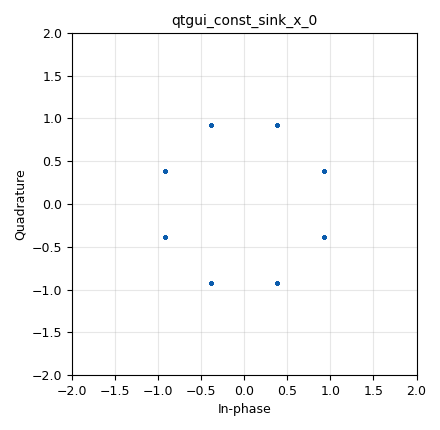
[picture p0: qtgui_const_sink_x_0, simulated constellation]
options:
  parameters:
    author: Marek Hetteš
    category: Custom
    description: Hlavny zapojenie pre BP1
    generate_options: qt_gui
    id: BER_Testovanie
    output_language: python
    title: BER Testovanie
  states: {}

blocks:
- name: BPSK
  id: variable_constellation
  parameters:
    precision: '8'
    type: 8psk
  states: {}
- name: M
  id: variable
  parameters:
    value: '8'
  states: {}
- name: N
  id: variable
  parameters:
    value: '256'
  states: {}
- name: Num_samp
  id: variable
  parameters:
    value: '1000000'
  states: {}
- name: OPSK
  id: variable_constellation
  parameters:
    precision: '8'
    type: 8psk
  states: {state: disabled}
- name: QPSK
  id: variable_constellation
  parameters:
    precision: '8'
    type: bpsk
  states: {state: disabled}
- name: SNR_max
  id: variable
  parameters:
    value: '20'
  states: {}
- name: SNR_min
  id: variable
  parameters:
    value: '0'
  states: {}
- name: SQAM
  id: variable_constellation
  parameters:
    precision: '8'
    type: 16qam
  states: {state: disabled}
- name: samp_rate
  id: variable
  parameters:
    value: '10000000'
  states: {}
- name: variable_qtgui_chooser_0
  id: variable_qtgui_chooser
  parameters:
    num_opts: '3'
    option0: '0'
    option1: '1'
    option2: '2'
    type: int
    value: '0'
  states: {}
- name: ErTools_AWGN_0
  id: ErTools_AWGN
  parameters:
    EbN0max: '20'
    EbN0min: '0'
    M: M
    N: N
  states: {}
- name: ErTools_AWGN_0_0
  id: ErTools_AWGN
  parameters:
    EbN0max: '20'
    EbN0min: '0'
    M: '2'
    N: N
  states: {state: disabled}
- name: ErTools_AWGN_0_0_0
  id: ErTools_AWGN
  parameters:
    EbN0max: '20'
    EbN0min: '0'
    M: '8'
    N: N
  states: {state: disabled}
- name: ErTools_AWGN_0_0_1
  id: ErTools_AWGN
  parameters:
    EbN0max: '20'
    EbN0min: '0'
    M: '16'
    N: N
  states: {state: disabled}
- name: ErTools_BER_0
  id: ErTools_BER
  parameters:
    N: N
  states: {}
- name: ErTools_BER_0_0
  id: ErTools_BER
  parameters:
    N: N
  states: {state: disabled}
- name: ErTools_BER_0_1
  id: ErTools_BER
  parameters:
    N: N
  states: {state: disabled}
- name: ErTools_BER_0_2
  id: ErTools_BER
  parameters:
    N: N
  states: {state: disabled}
- name: ErTools_SER_0
  id: ErTools_SER
  parameters:
    N: N
  states: {state: disabled}
- name: ErTools_Teoreticka_BER_0
  id: ErTools_Teoreticka_BER
  parameters:
    EbN0max: '20'
    EbN0min: '0'
    M: '2'
    N: N
  states: {}
- name: ErTools_Teoreticka_BER_0_0
  id: ErTools_Teoreticka_BER
  parameters:
    EbN0max: '20'
    EbN0min: '0'
    M: '4'
    N: N
  states: {}
- name: ErTools_Teoreticka_BER_0_1
  id: ErTools_Teoreticka_BER
  parameters:
    EbN0max: '20'
    EbN0min: '0'
    M: '8'
    N: N
  states: {}
- name: ErTools_Teoreticka_BER_0_2
  id: ErTools_Teoreticka_BER
  parameters:
    EbN0max: '20'
    EbN0min: '0'
    M: '16'
    N: N
  states: {}
- name: ErTools_Teoreticka_BER_0_2_0
  id: ErTools_Teoreticka_BER
  parameters:
    EbN0max: '20'
    EbN0min: '0'
    M: '16'
    N: N
  states: {state: disabled}
- name: analog_random_source_x_0
  id: analog_random_source_x
  parameters:
    max: M
    min: '0'
    num_samps: Num_samp
    repeat: 'True'
    type: byte
  states: {}
- name: blocks_add_xx_0
  id: blocks_add_xx
  parameters:
    type: complex
  states: {}
- name: blocks_add_xx_0_0
  id: blocks_add_xx
  parameters:
    type: complex
  states: {state: disabled}
- name: blocks_add_xx_0_0_0
  id: blocks_add_xx
  parameters:
    type: complex
  states: {state: disabled}
- name: blocks_add_xx_0_0_1
  id: blocks_add_xx
  parameters:
    type: complex
  states: {state: disabled}
- name: blocks_nlog10_ff_0
  id: blocks_nlog10_ff
  parameters:
    k: '0'
  states: {}
- name: blocks_nlog10_ff_0_0
  id: blocks_nlog10_ff
  parameters:
    k: '0'
  states: {state: disabled}
- name: blocks_nlog10_ff_0_1
  id: blocks_nlog10_ff
  parameters:
    k: '0'
  states: {state: disabled}
- name: blocks_nlog10_ff_0_1_0
  id: blocks_nlog10_ff
  parameters:
    k: '0'
  states: {}
- name: blocks_nlog10_ff_0_1_0_0
  id: blocks_nlog10_ff
  parameters:
    k: '0'
  states: {}
- name: blocks_nlog10_ff_0_1_0_1
  id: blocks_nlog10_ff
  parameters:
    k: '0'
  states: {}
- name: blocks_nlog10_ff_0_1_0_2
  id: blocks_nlog10_ff
  parameters:
    k: '0'
  states: {}
- name: blocks_nlog10_ff_0_1_0_2_0
  id: blocks_nlog10_ff
  parameters:
    k: '0'
  states: {state: disabled}
- name: blocks_nlog10_ff_0_2
  id: blocks_nlog10_ff
  parameters:
    k: '0'
  states: {state: disabled}
- name: blocks_nlog10_ff_0_3
  id: blocks_nlog10_ff
  parameters:
    k: '0'
  states: {state: disabled}
- name: blocks_stream_to_vector_0
  id: blocks_stream_to_vector
  parameters:
    num_items: N
    type: float
  states: {}
- name: blocks_stream_to_vector_0_0
  id: blocks_stream_to_vector
  parameters:
    num_items: N
    type: float
  states: {state: disabled}
- name: blocks_stream_to_vector_0_1
  id: blocks_stream_to_vector
  parameters:
    num_items: N
    type: float
  states: {state: disabled}
- name: blocks_stream_to_vector_0_1_0
  id: blocks_stream_to_vector
  parameters:
    num_items: N
    type: float
  states: {}
- name: blocks_stream_to_vector_0_1_0_0
  id: blocks_stream_to_vector
  parameters:
    num_items: N
    type: float
  states: {}
- name: blocks_stream_to_vector_0_1_0_1
  id: blocks_stream_to_vector
  parameters:
    num_items: N
    type: float
  states: {}
- name: blocks_stream_to_vector_0_1_0_2
  id: blocks_stream_to_vector
  parameters:
    num_items: N
    type: float
  states: {}
- name: blocks_stream_to_vector_0_1_0_2_0
  id: blocks_stream_to_vector
  parameters:
    num_items: N
    type: float
  states: {state: disabled}
- name: blocks_stream_to_vector_0_2
  id: blocks_stream_to_vector
  parameters:
    num_items: N
    type: float
  states: {state: disabled}
- name: blocks_stream_to_vector_0_3
  id: blocks_stream_to_vector
  parameters:
    num_items: N
    type: float
  states: {state: disabled}
- name: blocks_throttle2_0
  id: blocks_throttle2
  parameters:
    samples_per_second: samp_rate
    type: complex
  states: {}
- name: blocks_throttle2_0_0
  id: blocks_throttle2
  parameters:
    samples_per_second: samp_rate
    type: complex
  states: {state: disabled}
- name: blocks_throttle2_0_0_0
  id: blocks_throttle2
  parameters:
    samples_per_second: samp_rate
    type: complex
  states: {state: disabled}
- name: blocks_throttle2_0_0_1
  id: blocks_throttle2
  parameters:
    samples_per_second: samp_rate
    type: complex
  states: {state: disabled}
- name: blocks_unpack_k_bits_bb_0_0
  id: blocks_unpack_k_bits_bb
  parameters:
    k: '1'
  states: {state: disabled}
- name: blocks_unpack_k_bits_bb_0_1
  id: blocks_unpack_k_bits_bb
  parameters:
    k: '1'
  states: {state: disabled}
- name: blocks_unpack_k_bits_bb_0_2
  id: blocks_unpack_k_bits_bb
  parameters:
    k: '1'
  states: {state: disabled}
- name: digital_constellation_decoder_cb_0
  id: digital_constellation_decoder_cb
  parameters:
    constellation: BPSK
  states: {}
- name: digital_constellation_decoder_cb_0_0
  id: digital_constellation_decoder_cb
  parameters:
    constellation: QPSK
  states: {state: disabled}
- name: digital_constellation_decoder_cb_0_0_0
  id: digital_constellation_decoder_cb
  parameters:
    constellation: OPSK
  states: {state: disabled}
- name: digital_constellation_decoder_cb_0_0_1
  id: digital_constellation_decoder_cb
  parameters:
    constellation: SQAM
  states: {state: disabled}
- name: digital_constellation_encoder_bc_0
  id: digital_constellation_encoder_bc
  parameters:
    constellation: BPSK
  states: {}
- name: digital_constellation_encoder_bc_0_0
  id: digital_constellation_encoder_bc
  parameters:
    constellation: QPSK
  states: {state: disabled}
- name: digital_constellation_encoder_bc_0_0_0
  id: digital_constellation_encoder_bc
  parameters:
    constellation: OPSK
  states: {state: disabled}
- name: digital_constellation_encoder_bc_0_0_1
  id: digital_constellation_encoder_bc
  parameters:
    constellation: SQAM
  states: {state: disabled}
- name: qtgui_const_sink_x_0
  id: qtgui_const_sink_x
  parameters:
    grid: 'True'
    size: '1024'
    type: complex
  states: {}
- name: qtgui_vector_sink_f_0_0
  id: qtgui_vector_sink_f
  parameters:
    alpha1: '1'
    color1: '"magenta"'
    color3: '"blue"'
    color4: '"green"'
    color5: '"black"'
    grid: 'True'
    gui_hint: 2,0,1,1
    label1: '"Realna BPSK"'
    label2: '"Teoreticka BPSK"'
    label3: '"Teoreticka QPSK"'
    label4: '"Teoreticka 8PSK"'
    label5: '"Teoreticka 16PSK"'
    name: '"BER"'
    nconnections: '5'
    update_time: '0.1'
    vlen: N
    width1: '2'
    width2: '2'
    width3: '2'
    width4: '2'
    width5: '2'
    x_axis_label: '"Eb/N0 [dB]"'
    x_start: '0'
    x_step: '0.078125'
    x_units: '"dB"'
    y_axis_label: '"log Pe"'
    ymax: '1'
    ymin: '-6'
  states: {}
- name: virtual_sink_0
  id: virtual_sink
  parameters:
    stream_id: AWGN_B
  states: {}
- name: virtual_sink_0_0
  id: virtual_sink
  parameters:
    stream_id: SIGNAL
  states: {}
- name: virtual_sink_0_1
  id: virtual_sink
  parameters:
    stream_id: SAMP_POINT_B
  states: {}
- name: virtual_sink_0_1_0
  id: virtual_sink
  parameters:
    stream_id: SAMP_POINT_Q
  states: {state: disabled}
- name: virtual_sink_0_1_0_0
  id: virtual_sink
  parameters:
    stream_id: SAMP_POINT_O
  states: {state: disabled}
- name: virtual_sink_0_1_0_1
  id: virtual_sink
  parameters:
    stream_id: SAMP_POINT_S
  states: {state: disabled}
- name: virtual_sink_0_2
  id: virtual_sink
  parameters:
    stream_id: AWGN_Q
  states: {state: disabled}
- name: virtual_sink_0_2_0
  id: virtual_sink
  parameters:
    stream_id: AWGN_O
  states: {state: disabled}
- name: virtual_sink_0_2_1
  id: virtual_sink
  parameters:
    stream_id: AWGN_S
  states: {state: disabled}
- name: virtual_source_0
  id: virtual_source
  parameters:
    stream_id: AWGN_B
  states: {}
- name: virtual_source_0_0_0
  id: virtual_source
  parameters:
    stream_id: SIGNAL
  states: {}
- name: virtual_source_0_0_0_0
  id: virtual_source
  parameters:
    stream_id: SIGNAL
  states: {state: disabled}
- name: virtual_source_0_0_0_0_0
  id: virtual_source
  parameters:
    stream_id: SIGNAL
  states: {state: disabled}
- name: virtual_source_0_0_0_0_1
  id: virtual_source
  parameters:
    stream_id: SIGNAL
  states: {state: disabled}
- name: virtual_source_0_0_1
  id: virtual_source
  parameters:
    stream_id: SAMP_POINT_B
  states: {}
- name: virtual_source_0_0_1_0
  id: virtual_source
  parameters:
    stream_id: SAMP_POINT_Q
  states: {state: disabled}
- name: virtual_source_0_0_1_1
  id: virtual_source
  parameters:
    stream_id: SAMP_POINT_O
  states: {state: disabled}
- name: virtual_source_0_0_1_2
  id: virtual_source
  parameters:
    stream_id: SAMP_POINT_S
  states: {state: disabled}
- name: virtual_source_0_0_2
  id: virtual_source
  parameters:
    stream_id: SIGNAL
  states: {state: disabled}
- name: virtual_source_0_0_2_0
  id: virtual_source
  parameters:
    stream_id: SIGNAL
  states: {}
- name: virtual_source_0_0_3
  id: virtual_source
  parameters:
    stream_id: SIGNAL
  states: {state: disabled}
- name: virtual_source_0_0_4
  id: virtual_source
  parameters:
    stream_id: SIGNAL
  states: {state: disabled}
- name: virtual_source_0_1
  id: virtual_source
  parameters:
    stream_id: AWGN_Q
  states: {state: disabled}
- name: virtual_source_0_2
  id: virtual_source
  parameters:
    stream_id: AWGN_O
  states: {state: disabled}
- name: virtual_source_0_3
  id: virtual_source
  parameters:
    stream_id: AWGN_S
  states: {state: disabled}

connections:
- [ErTools_AWGN_0, '0', blocks_add_xx_0, '1']
- [ErTools_AWGN_0, '1', virtual_sink_0_1, '0']
- [ErTools_AWGN_0_0, '0', blocks_add_xx_0_0, '1']
- [ErTools_AWGN_0_0, '1', virtual_sink_0_1_0, '0']
- [ErTools_AWGN_0_0_0, '0', blocks_add_xx_0_0_0, '1']
- [ErTools_AWGN_0_0_0, '1', virtual_sink_0_1_0_0, '0']
- [ErTools_AWGN_0_0_1, '0', blocks_add_xx_0_0_1, '1']
- [ErTools_AWGN_0_0_1, '1', virtual_sink_0_1_0_1, '0']
- [ErTools_BER_0, '0', blocks_nlog10_ff_0, '0']
- [ErTools_BER_0_0, '0', blocks_nlog10_ff_0_0, '0']
- [ErTools_BER_0_1, '0', blocks_nlog10_ff_0_2, '0']
- [ErTools_BER_0_2, '0', blocks_nlog10_ff_0_3, '0']
- [ErTools_SER_0, '0', blocks_nlog10_ff_0_1, '0']
- [ErTools_Teoreticka_BER_0, '0', blocks_nlog10_ff_0_1_0, '0']
- [ErTools_Teoreticka_BER_0_0, '0', blocks_nlog10_ff_0_1_0_0, '0']
- [ErTools_Teoreticka_BER_0_1, '0', blocks_nlog10_ff_0_1_0_1, '0']
- [ErTools_Teoreticka_BER_0_2, '0', blocks_nlog10_ff_0_1_0_2, '0']
- [ErTools_Teoreticka_BER_0_2_0, '0', blocks_nlog10_ff_0_1_0_2_0, '0']
- [analog_random_source_x_0, '0', virtual_sink_0_0, '0']
- [blocks_add_xx_0, '0', digital_constellation_decoder_cb_0, '0']
- [blocks_add_xx_0_0, '0', digital_constellation_decoder_cb_0_0, '0']
- [blocks_add_xx_0_0_0, '0', digital_constellation_decoder_cb_0_0_0, '0']
- [blocks_add_xx_0_0_1, '0', digital_constellation_decoder_cb_0_0_1, '0']
- [blocks_nlog10_ff_0, '0', blocks_stream_to_vector_0, '0']
- [blocks_nlog10_ff_0_0, '0', blocks_stream_to_vector_0_0, '0']
- [blocks_nlog10_ff_0_1, '0', blocks_stream_to_vector_0_1, '0']
- [blocks_nlog10_ff_0_1_0, '0', blocks_stream_to_vector_0_1_0, '0']
- [blocks_nlog10_ff_0_1_0_0, '0', blocks_stream_to_vector_0_1_0_0, '0']
- [blocks_nlog10_ff_0_1_0_1, '0', blocks_stream_to_vector_0_1_0_1, '0']
- [blocks_nlog10_ff_0_1_0_2, '0', blocks_stream_to_vector_0_1_0_2, '0']
- [blocks_nlog10_ff_0_1_0_2_0, '0', blocks_stream_to_vector_0_1_0_2_0, '0']
- [blocks_nlog10_ff_0_2, '0', blocks_stream_to_vector_0_2, '0']
- [blocks_nlog10_ff_0_3, '0', blocks_stream_to_vector_0_3, '0']
- [blocks_stream_to_vector_0, '0', qtgui_vector_sink_f_0_0, '0']
- [blocks_stream_to_vector_0_1_0, '0', qtgui_vector_sink_f_0_0, '1']
- [blocks_stream_to_vector_0_1_0_0, '0', qtgui_vector_sink_f_0_0, '2']
- [blocks_stream_to_vector_0_1_0_1, '0', qtgui_vector_sink_f_0_0, '3']
- [blocks_stream_to_vector_0_1_0_2, '0', qtgui_vector_sink_f_0_0, '4']
- [blocks_throttle2_0, '0', blocks_add_xx_0, '0']
- [blocks_throttle2_0_0, '0', blocks_add_xx_0_0, '0']
- [blocks_throttle2_0_0_0, '0', blocks_add_xx_0_0_0, '0']
- [blocks_throttle2_0_0_1, '0', blocks_add_xx_0_0_1, '0']
- [blocks_unpack_k_bits_bb_0_0, '0', ErTools_BER_0_0, '0']
- [blocks_unpack_k_bits_bb_0_1, '0', ErTools_BER_0_1, '0']
- [blocks_unpack_k_bits_bb_0_2, '0', ErTools_BER_0_2, '0']
- [digital_constellation_decoder_cb_0, '0', virtual_sink_0, '0']
- [digital_constellation_decoder_cb_0_0, '0', virtual_sink_0_2, '0']
- [digital_constellation_decoder_cb_0_0_0, '0', virtual_sink_0_2_0, '0']
- [digital_constellation_decoder_cb_0_0_1, '0', virtual_sink_0_2_1, '0']
- [digital_constellation_encoder_bc_0, '0', ErTools_AWGN_0, '0']
- [digital_constellation_encoder_bc_0, '0', blocks_throttle2_0, '0']
- [digital_constellation_encoder_bc_0, '0', qtgui_const_sink_x_0, '0']
- [digital_constellation_encoder_bc_0_0, '0', ErTools_AWGN_0_0, '0']
- [digital_constellation_encoder_bc_0_0, '0', blocks_throttle2_0_0, '0']
- [digital_constellation_encoder_bc_0_0_0, '0', ErTools_AWGN_0_0_0, '0']
- [digital_constellation_encoder_bc_0_0_0, '0', blocks_throttle2_0_0_0, '0']
- [digital_constellation_encoder_bc_0_0_1, '0', ErTools_AWGN_0_0_1, '0']
- [digital_constellation_encoder_bc_0_0_1, '0', blocks_throttle2_0_0_1, '0']
- [virtual_source_0, '0', ErTools_BER_0, '2']
- [virtual_source_0, '0', ErTools_SER_0, '0']
- [virtual_source_0_0_0, '0', digital_constellation_encoder_bc_0, '0']
- [virtual_source_0_0_0_0, '0', digital_constellation_encoder_bc_0_0, '0']
- [virtual_source_0_0_0_0_0, '0', digital_constellation_encoder_bc_0_0_0, '0']
- [virtual_source_0_0_0_0_1, '0', digital_constellation_encoder_bc_0_0_1, '0']
- [virtual_source_0_0_1, '0', ErTools_BER_0, '0']
- [virtual_source_0_0_1, '0', ErTools_SER_0, '1']
- [virtual_source_0_0_1_0, '0', ErTools_BER_0_0, '1']
- [virtual_source_0_0_1_1, '0', ErTools_BER_0_1, '1']
- [virtual_source_0_0_1_2, '0', ErTools_BER_0_2, '1']
- [virtual_source_0_0_2, '0', ErTools_BER_0_0, '2']
- [virtual_source_0_0_2_0, '0', ErTools_BER_0, '1']
- [virtual_source_0_0_2_0, '0', ErTools_SER_0, '2']
- [virtual_source_0_0_3, '0', ErTools_BER_0_1, '2']
- [virtual_source_0_0_4, '0', ErTools_BER_0_2, '2']
- [virtual_source_0_1, '0', blocks_unpack_k_bits_bb_0_0, '0']
- [virtual_source_0_2, '0', blocks_unpack_k_bits_bb_0_1, '0']
- [virtual_source_0_3, '0', blocks_unpack_k_bits_bb_0_2, '0']

metadata:
  file_format: 1
  grc_version: 3.10.9.2
